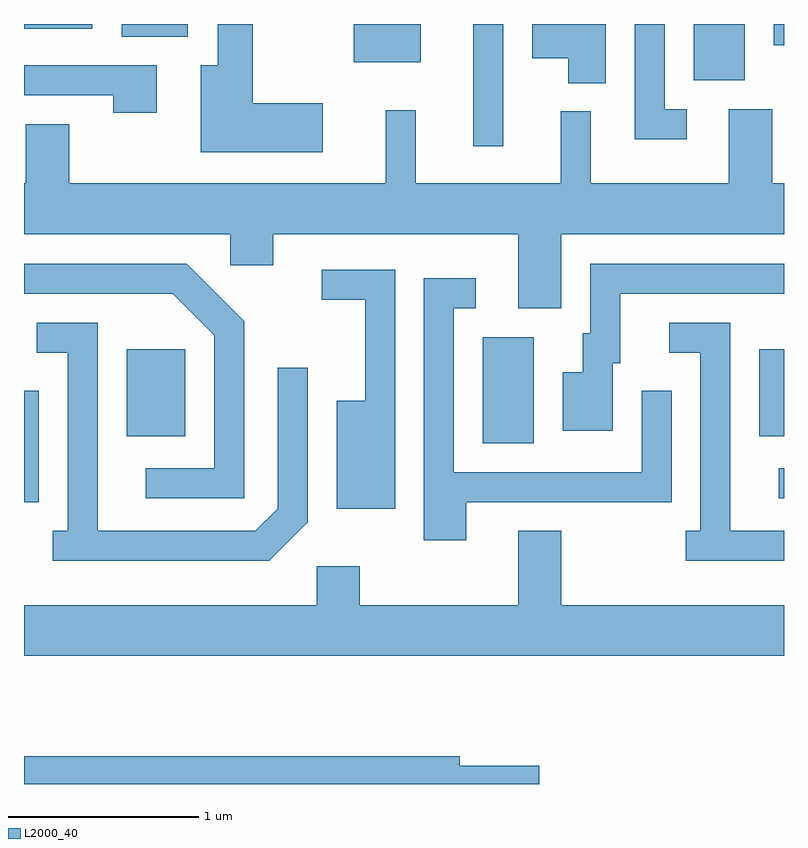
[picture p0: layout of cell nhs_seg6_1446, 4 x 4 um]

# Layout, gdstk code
import gdstk
lib = gdstk.Library(unit=1e-6, precision=1e-09)
def R(c, l, rs):  # rectangles x0, y0, x1, y1
    for r in rs: c.add(gdstk.rectangle(r[:2], r[2:], *l))
def P(c, l, *ps):  # polygons
    for p in ps: c.add(gdstk.Polygon(p, *l))
L2000_40 = (2000, 40)

nhs_seg6_1446 = lib.new_cell('nhs_seg6_1446')
R(nhs_seg6_1446, L2000_40, [(227.611,1639.646,227.689,1640.233), (231.583,1639.666,231.611,1639.824), (230.026,1639.956,230.294,1640.514), (228.151,1639.991,228.459,1640.449), (231.481,1639.991,231.611,1640.449), (229.976,1641.518,230.134,1642.162), (231.136,1641.866,231.404,1642.162), (229.346,1641.961,229.699,1642.162), (231.556,1642.051,231.611,1642.162), (228.126,1642.096,228.474,1642.162), (227.611,1642.136,227.969,1642.162)])
P(nhs_seg6_1446, L2000_40, [(230.674,1642.162),(230.286,1642.162),(230.286,1641.981),(230.476,1641.981),(230.476,1641.851),(230.674,1641.851)],
  [(231.098,1641.714),(230.984,1641.714),(230.984,1642.162),(230.826,1642.162),(230.826,1641.556),(231.098,1641.556)],
  [(229.184,1641.744),(228.814,1641.744),(228.814,1642.162),(228.631,1642.162),(228.631,1641.944),(228.541,1641.944),(228.541,1641.486),(229.184,1641.486)],
  [(228.309,1641.944),(227.611,1641.944),(227.611,1641.786),(228.081,1641.786),(228.081,1641.696),(228.309,1641.696)],
  [(230.439,1641.056),(231.611,1641.056),(231.611,1641.324),(231.549,1641.324),(231.549,1641.714),(231.321,1641.714),(231.321,1641.324),(230.594,1641.324),(230.594,1641.703),(230.436,1641.703),(230.436,1641.324),(229.674,1641.324),(229.674,1641.708),(229.516,1641.708),(229.516,1641.324),(227.849,1641.324),(227.849,1641.634),(227.621,1641.634),(227.621,1641.324),(227.611,1641.324),(227.611,1641.056),(228.696,1641.056),(228.696,1640.891),(228.924,1640.891),(228.924,1641.056),(230.211,1641.056),(230.211,1640.666),(230.439,1640.666)],
  [(230.709,1640.376),(230.749,1640.376),(230.749,1640.741),(231.611,1640.741),(231.611,1640.899),(230.591,1640.899),(230.591,1640.534),(230.551,1640.534),(230.551,1640.329),(230.446,1640.329),(230.446,1640.021),(230.709,1640.021)],
  [(228.769,1640.597),(228.467,1640.899),(227.611,1640.899),(227.611,1640.741),(228.394,1640.741),(228.611,1640.524),(228.611,1639.824),(228.253,1639.824),(228.253,1639.666),(228.769,1639.666)],
  [(229.564,1640.869),(229.178,1640.869),(229.178,1640.711),(229.406,1640.711),(229.406,1640.179),(229.256,1640.179),(229.256,1639.611),(229.564,1639.611)],
  [(229.939,1639.646),(231.019,1639.646),(231.019,1640.233),(230.861,1640.233),(230.861,1639.804),(229.874,1639.804),(229.874,1640.666),(229.988,1640.666),(229.988,1640.824),(229.716,1640.824),(229.716,1639.446),(229.939,1639.446)],
  [(231.611,1639.494),(231.329,1639.494),(231.329,1640.589),(231.008,1640.589),(231.008,1640.431),(231.171,1640.431),(231.171,1639.494),(231.093,1639.494),(231.093,1639.336),(231.611,1639.336)],
  [(229.104,1639.539),(229.104,1640.353),(228.946,1640.353),(228.946,1639.612),(228.829,1639.494),(227.999,1639.494),(227.999,1640.589),(227.678,1640.589),(227.678,1640.431),(227.841,1640.431),(227.841,1639.494),(227.763,1639.494),(227.763,1639.336),(228.902,1639.336)],
  [(229.151,1639.309),(229.151,1639.104),(227.611,1639.104),(227.611,1638.836),(231.611,1638.836),(231.611,1639.104),(230.439,1639.104),(230.439,1639.494),(230.211,1639.494),(230.211,1639.104),(229.379,1639.104),(229.379,1639.309)],
  [(230.324,1638.259),(229.904,1638.259),(229.904,1638.309),(227.611,1638.309),(227.611,1638.162),(230.324,1638.162)])

lib.write_gds('nhs_seg6_1446.gds')
